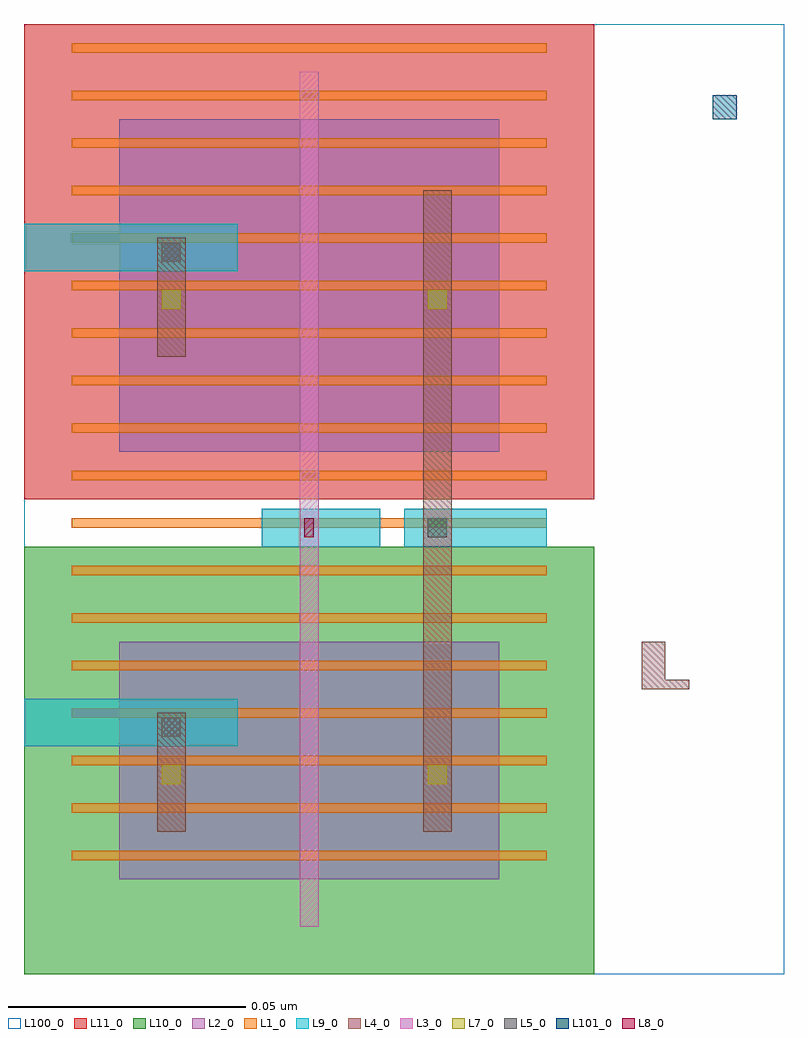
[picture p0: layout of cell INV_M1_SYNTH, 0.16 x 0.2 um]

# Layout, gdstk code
import gdstk
lib = gdstk.Library(unit=1e-6, precision=1e-09)
def R(c, l, rs):  # rectangles x0, y0, x1, y1
    for r in rs: c.add(gdstk.rectangle(r[:2], r[2:], *l))
def A(c, l, x, y, w, h, nx, ny, dx, dy):  # array of equal rectangles
    R(c, l, [(x+i*dx, y+j*dy, x+i*dx+w, y+j*dy+h) for i in range(nx) for j in range(ny)])
def P(c, l, *ps):  # polygons
    for p in ps: c.add(gdstk.Polygon(p, *l))
L1_0 = (1, 0)
L2_0 = (2, 0)
L3_0 = (3, 0)
L4_0 = (4, 0)
L5_0 = (5, 0)
L7_0 = (7, 0)
L8_0 = (8, 0)
L9_0 = (9, 0)
L10_0 = (10, 0)
L11_0 = (11, 0)
L100_0 = (100, 0)
L101_0 = (101, 0)

inv_m1_synth = lib.new_cell('INV_M1_SYNTH')
A(inv_m1_synth, L1_0, 0.01, 0.024, 0.1, 0.002, 1, 18, 0, 0.01)
R(inv_m1_synth, L2_0, [(0.02,0.02,0.1,0.07), (0.02,0.11,0.1,0.18)])
R(inv_m1_synth, L3_0, [(0.058,0.01,0.062,0.19)])
R(inv_m1_synth, L4_0, [(0.028,0.03,0.034,0.055), (0.084,0.03,0.09,0.165), (0.028,0.13,0.034,0.155)])
P(inv_m1_synth, L4_0, [(0.13,0.06),(0.14,0.06),(0.14,0.062),(0.135,0.062),(0.135,0.07),(0.13,0.07)])
R(inv_m1_synth, L5_0, [(0.029,0.05,0.033,0.054), (0.085,0.092,0.089,0.096), (0.029,0.15,0.033,0.154)])
R(inv_m1_synth, L7_0, [(0.029,0.04,0.033,0.044), (0.085,0.04,0.089,0.044), (0.029,0.14,0.033,0.144), (0.085,0.14,0.089,0.144)])
R(inv_m1_synth, L8_0, [(0.059,0.092,0.061,0.096)])
R(inv_m1_synth, L9_0, [(0,0.048,0.045,0.058), (0.05,0.09,0.075,0.098), (0.08,0.09,0.11,0.098), (0,0.148,0.045,0.158)])
R(inv_m1_synth, L10_0, [(0,0,0.12,0.09)])
R(inv_m1_synth, L11_0, [(0,0.1,0.12,0.2)])
R(inv_m1_synth, L100_0, [(0,0,0.16,0.2)])
R(inv_m1_synth, L101_0, [(0.145,0.18,0.15,0.185)])

lib.write_gds('INV_M1_SYNTH.gds')
